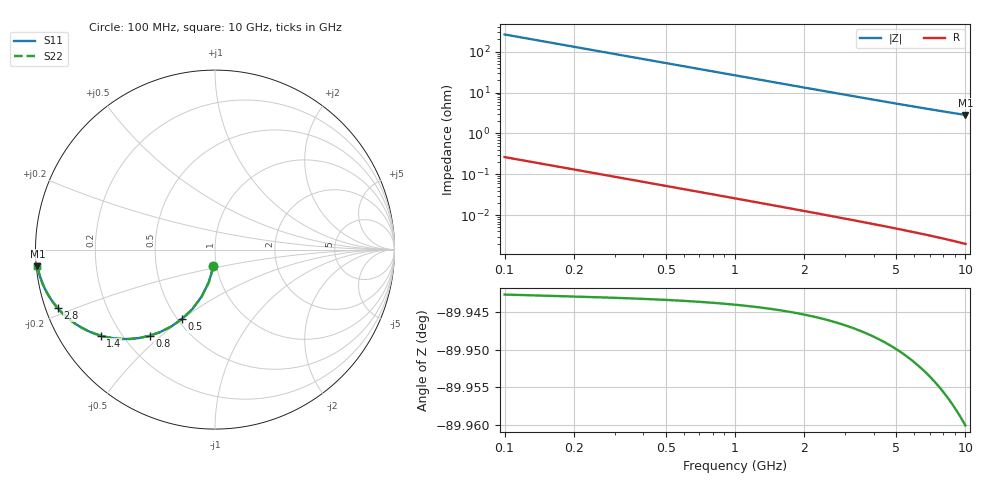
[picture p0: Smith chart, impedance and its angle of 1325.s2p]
# Hz S RI R 50.00
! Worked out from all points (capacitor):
!   100 points, 100 MHz to 10 GHz, reference 50 ohm
!   read as one part in shunt: C = 6.03 pF near 100 MHz
!   lowest |Z| = 2.84 ohm at 10 GHz (marker M1)
!   S11 on the Smith chart (normalised r, x): 100 MHz: 0.97, -0.18; 500 MHz: 0.53, -0.50; 800 MHz: 0.30, -0.46; 1.4 GHz: 0.13, -0.33; 2.8 GHz: 0.04, -0.18; 10 GHz: 0.00, -0.05
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1e8  -0.00896 -0.0938  0.991 -0.094  0.991 -0.094  -0.00896 -0.0938
2e8  -0.0348 -0.1827  0.9651 -0.183  0.9651 -0.183  -0.0348 -0.1827
3e8  -0.0749 -0.2625  0.925 -0.2631  0.925 -0.2631  -0.0749 -0.2625
4e8  -0.1258 -0.3308  0.8742 -0.3315  0.8742 -0.3315  -0.1258 -0.3308
5e8  -0.1834 -0.3861  0.8165 -0.387  0.8165 -0.387  -0.1834 -0.3861
6e8  -0.2443 -0.4287  0.7556 -0.4298  0.7556 -0.4298  -0.2443 -0.4287
7e8  -0.3055 -0.4595  0.6944 -0.4608  0.6944 -0.4608  -0.3055 -0.4595
8e8  -0.3648 -0.4801  0.6351 -0.4816  0.6351 -0.4816  -0.3648 -0.4801
9e8  -0.4208 -0.4924  0.5791 -0.494  0.5791 -0.494  -0.4208 -0.4924
1.1e9  -0.5203 -0.4981  0.4796 -0.5001  0.4796 -0.5001  -0.5203 -0.4981
1.4e9  -0.6371 -0.479  0.3628 -0.4816  0.3628 -0.4816  -0.6371 -0.479
1.6e9  -0.6963 -0.4579  0.3037 -0.4608  0.3037 -0.4608  -0.6963 -0.4579
1.8e9  -0.7436 -0.4345  0.2563 -0.4378  0.2563 -0.4378  -0.7436 -0.4345
2e9  -0.7816 -0.4108  0.2183 -0.4145  0.2183 -0.4145  -0.7816 -0.4108
2.3e9  -0.8255 -0.3769  0.1744 -0.3811  0.1744 -0.3811  -0.8255 -0.3769
2.8e9  -0.8751 -0.3274  0.1248 -0.3327  0.1248 -0.3327  -0.8751 -0.3274
3.4e9  -0.9117 -0.28  0.0882 -0.2863  0.0882 -0.2863  -0.9117 -0.28
4.2e9  -0.9403 -0.2323  0.0596 -0.2403  0.0596 -0.2403  -0.9403 -0.2323
5.1e9  -0.9587 -0.1934  0.0411 -0.203  0.0411 -0.203  -0.9587 -0.1934
6.7e9  -0.9758 -0.1466  0.0241 -0.1595  0.0241 -0.1595  -0.9758 -0.1466
8.4e9  -0.9845 -0.1143  0.0153 -0.1306  0.0153 -0.1306  -0.9845 -0.1143
1e10  -0.9891 -0.0927  0.0106 -0.1124  0.0106 -0.1124  -0.9891 -0.0927
